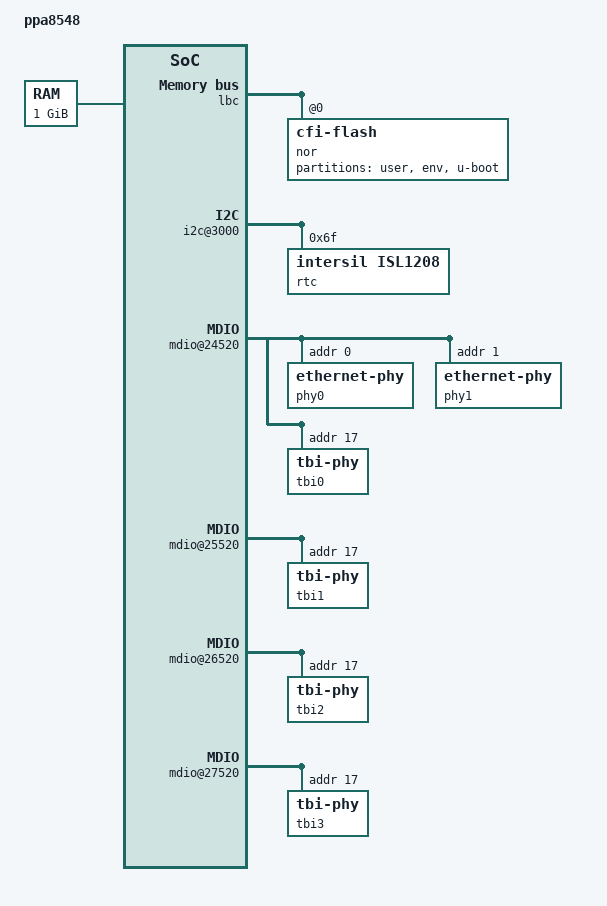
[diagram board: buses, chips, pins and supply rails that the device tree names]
/*
 * PPA8548 Device Tree Source (36-bit address map)
 * Copyright 2013 Prodrive B.V.
 *
 * Based on:
 * MPC8548 CDS Device Tree Source (36-bit address map)
 * Copyright 2012 Freescale Semiconductor Inc.
 *
 * This program is free software; you can redistribute  it and/or modify it
 * under  the terms of  the GNU General  Public License as published by the
 * Free Software Foundation;  either version 2 of the  License, or (at your
 * option) any later version.
 */

/include/ "fsl/mpc8548si-pre.dtsi"

/ {
	model = "ppa8548";
	compatible = "ppa8548";
	#address-cells = <2>;
	#size-cells = <2>;
	interrupt-parent = <&mpic>;

	memory {
		device_type = "memory";
		reg = <0 0 0x0 0x40000000>;
	};

	lbc: localbus@fe0005000 {
		reg = <0xf 0xe0005000 0 0x1000>;
		ranges = <0x0 0x0 0xf 0xff800000 0x00800000>;
	};

	soc: soc8548@fe0000000 {
		ranges = <0 0xf 0xe0000000 0x100000>;
	};

	pci0: pci@fe0008000 {
		/* ppa8548 board doesn't support PCI */
		status = "disabled";
	};

	pci1: pci@fe0009000 {
		/* ppa8548 board doesn't support PCI */
		status = "disabled";
	};

	pci2: pcie@fe000a000 {
		/* ppa8548 board doesn't support PCI */
		status = "disabled";
	};

	rio: rapidio@fe00c0000 {
		reg = <0xf 0xe00c0000 0x0 0x11000>;
		port1 {
			ranges = <0x0 0x0 0x0 0x80000000 0x0 0x40000000>;
		};
	};
};

&lbc {
	nor@0 {
		#address-cells = <1>;
		#size-cells = <1>;
		compatible = "cfi-flash";
		reg = <0x0 0x0 0x00800000>;
		bank-width = <2>;
		device-width = <2>;

		partition@0 {
			reg = <0x0 0x7A0000>;
			label = "user";
		};

		partition@7A0000 {
			reg = <0x7A0000 0x20000>;
			label = "env";
			read-only;
		};

		partition@7C0000 {
			reg = <0x7C0000 0x40000>;
			label = "u-boot";
			read-only;
		};
	};
};

&soc {
	i2c@3000 {
		rtc@6f {
			compatible = "intersil,isl1208";
			reg = <0x6f>;
		};
	};

	i2c@3100 {
	};

	/*
	 * Only ethernet controller @25000 and @26000 are used.
	 * Use alias enet2 and enet3 for the remainig controllers,
	 * to stay compatible with mpc8548si-pre.dtsi.
	 */
	enet2: ethernet@24000 {
		status = "disabled";
	};

	mdio@24520 {
		phy0: ethernet-phy@0 {
			interrupts = <7 1 0 0>;
			reg = <0x0>;
			device_type = "ethernet-phy";
		};
		phy1: ethernet-phy@1 {
			interrupts = <8 1 0 0>;
			reg = <0x1>;
			device_type = "ethernet-phy";
		};
		tbi0: tbi-phy@11 {
			reg = <0x11>;
			device_type = "tbi-phy";
		};
	};

	enet0: ethernet@25000 {
		tbi-handle = <&tbi1>;
		phy-handle = <&phy0>;
	};

	mdio@25520 {
		tbi1: tbi-phy@11 {
			reg = <0x11>;
			device_type = "tbi-phy";
		};
	};

	enet1: ethernet@26000 {
		tbi-handle = <&tbi2>;
		phy-handle = <&phy1>;
	};

	mdio@26520 {
		tbi2: tbi-phy@11 {
			reg = <0x11>;
			device_type = "tbi-phy";
		};
	};

	enet3: ethernet@27000 {
		status = "disabled";
	};

	mdio@27520 {
		tbi3: tbi-phy@11 {
			reg = <0x11>;
			device_type = "tbi-phy";
		};
	};

	crypto@30000 {
		status = "disabled";
	};
};

/include/ "fsl/mpc8548si-post.dtsi"
